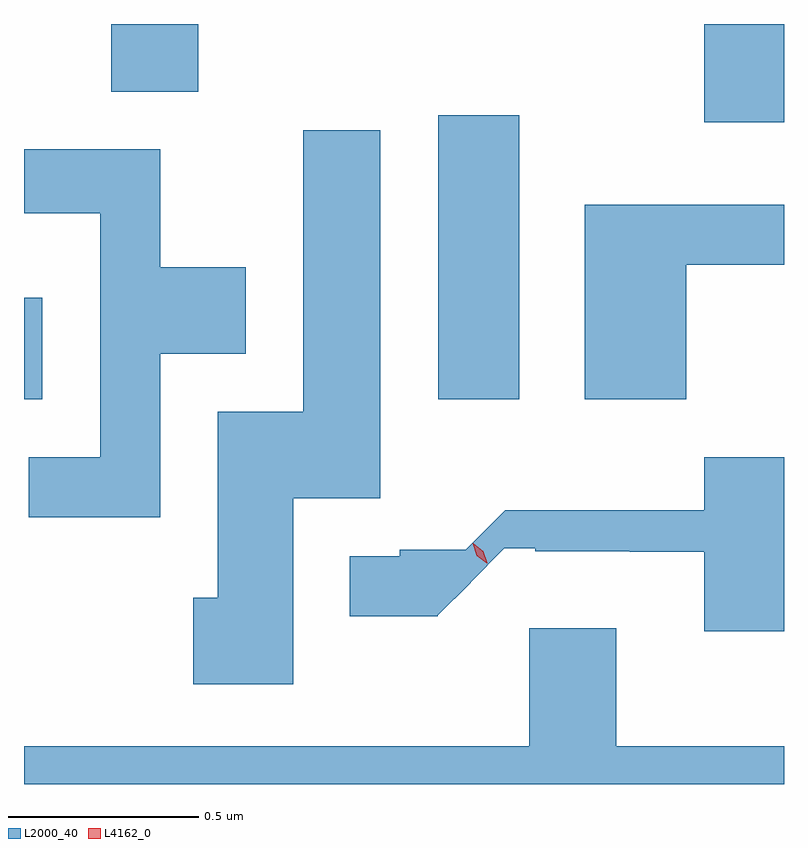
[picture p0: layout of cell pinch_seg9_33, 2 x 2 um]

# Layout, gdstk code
import gdstk
lib = gdstk.Library(unit=1e-6, precision=1e-09)
def R(c, l, rs):  # rectangles x0, y0, x1, y1
    for r in rs: c.add(gdstk.rectangle(r[:2], r[2:], *l))
def P(c, l, *ps):  # polygons
    for p in ps: c.add(gdstk.Polygon(p, *l))
L2000_40 = (2000, 40)
L4162_0 = (4162, 0)

pinch_seg9_33 = lib.new_cell('pinch_seg9_33')
R(pinch_seg9_33, L2000_40, [(856.511,2039.616,856.559,2039.884), (857.601,2039.616,857.814,2040.364), (858.301,2040.346,858.511,2040.604), (856.741,2040.426,856.969,2040.604)])
P(pinch_seg9_33, L2000_40, [(857.219,2039.356),(857.449,2039.356),(857.449,2040.324),(857.246,2040.324),(857.246,2039.584),(857.021,2039.584),(857.021,2039.094),(856.956,2039.094),(856.956,2038.866),(857.219,2038.866)],
  [(856.869,2039.736),(857.094,2039.736),(857.094,2039.964),(856.869,2039.964),(856.869,2040.274),(856.511,2040.274),(856.511,2040.106),(856.711,2040.106),(856.711,2039.464),(856.523,2039.464),(856.523,2039.306),(856.869,2039.306)],
  [(858.254,2039.971),(858.511,2039.971),(858.511,2040.129),(857.986,2040.129),(857.986,2039.616),(858.254,2039.616)],
  [(858.511,2039.464),(858.301,2039.464),(858.301,2039.324),(857.778,2039.324),(857.674,2039.22),(857.5,2039.22),(857.5,2039.204),(857.368,2039.204),(857.368,2039.046),(857.6,2039.046),(857.6,2039.048),(857.687,2039.134),(857.686,2039.135),(857.775,2039.224),(857.856,2039.224),(857.856,2039.217),(858.105,2039.217),(858.105,2039.215),(858.301,2039.215),(858.301,2039.006),(858.511,2039.006)],
  [(858.511,2038.704),(858.069,2038.704),(858.069,2039.014),(857.841,2039.014),(857.841,2038.704),(856.511,2038.704),(856.511,2038.604),(858.511,2038.604)])
P(pinch_seg9_33, L4162_0, [(857.729,2039.185),(857.703,2039.205),(857.692,2039.237),(857.692,2039.237),(857.693,2039.237),(857.719,2039.217),(857.73,2039.186),(857.73,2039.185)],
  [(857.724,2039.192),(857.723,2039.193),(857.703,2039.205),(857.698,2039.229),(857.698,2039.23),(857.699,2039.23),(857.719,2039.217),(857.724,2039.193)])

lib.write_gds('pinch_seg9_33.gds')
